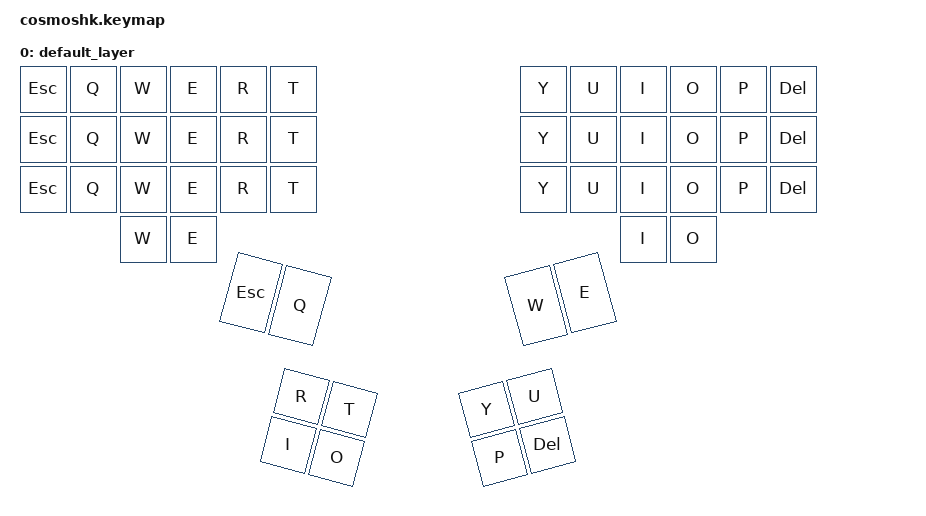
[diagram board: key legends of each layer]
#include <behaviors.dtsi>
#include <dt-bindings/zmk/keys.h>
#include <dt-bindings/zmk/bt.h>

/ {
    keymap {
        compatible = "zmk,keymap";

        default_layer { // Layer 0
// ------------------------------------------------------------------------------------------------------------
// |  ESC  |  Q  |  W  |  E   |  R   |  T   |                   |  Y   |  U    |  I    |  O   |   P   |  ESC  |
// | BSPC  |  A  |  S  |  D   |  F   |  G   |                   |  H   |  J    |  K    |  L   |   Ç   |  ~    |
// |  GUI  |  Z  |  X  |  C   |  V   |  B   |                   |  N   |  M    |  ,    |  .   |   -   |  GUI  |
//               | LFT | RGT  |                                                |  UP   |  DWN |
//         |CTRL | SPC | MOUS | ENT  | L_1  |                   | RSE  |  ENT  |  SPC  | LWR  |  GUI  |
            bindings = <
                &kp ESC    &kp Q    &kp W    &kp E    &kp R    &kp T    &kp Y    &kp U    &kp I      &kp O    &kp P     &kp DEL
                &kp ESC    &kp Q    &kp W    &kp E    &kp R    &kp T    &kp Y    &kp U    &kp I      &kp O    &kp P     &kp DEL
                &kp ESC    &kp Q    &kp W    &kp E    &kp R    &kp T    &kp Y    &kp U    &kp I      &kp O    &kp P     &kp DEL
                                    &kp W    &kp E                                        &kp I      &kp O
                &kp ESC    &kp Q    &kp W    &kp E    &kp R    &kp T    &kp Y    &kp U    &kp I      &kp O    &kp P     &kp DEL
            >;
        };
    };
 };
